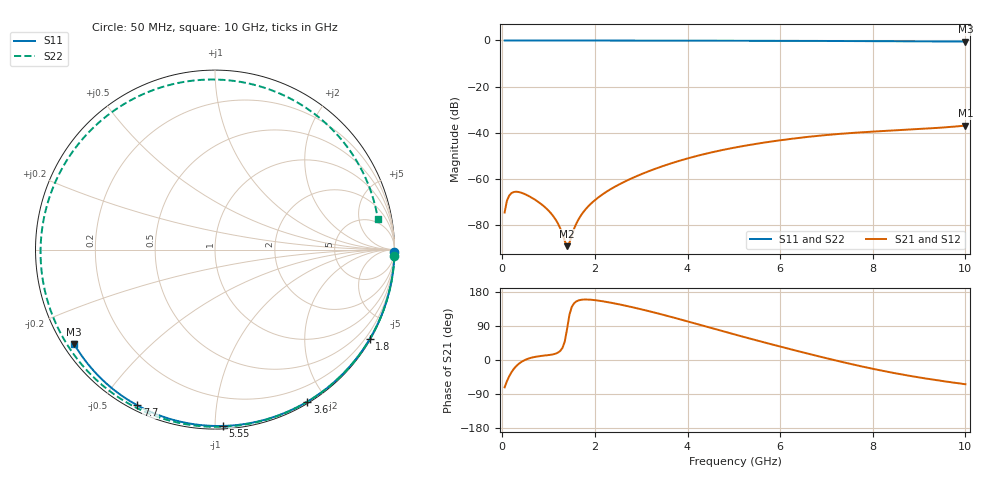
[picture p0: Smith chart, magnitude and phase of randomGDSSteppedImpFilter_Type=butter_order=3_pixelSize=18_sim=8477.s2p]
! freq	dB(S11)	phase(S11)	dB(S12)	phase(S12)
!  dB(S21)	phase(S21)	dB(S22)	phase(S22)
!S-par simulation data
#  GHz  S  DB  R 50
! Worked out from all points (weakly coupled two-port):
!   200 points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, 50 MHz to 10 GHz, reference 50 ohm
!   highest |S21| = -36.92 dB at 10 GHz (marker M1); lowest = -89.2 dB at 1.4 GHz (marker M2)
!   lowest |S11| = -0.5 dB at 10 GHz (marker M3), VSWR 35.14, Z = 1.55 - j15.2 ohm
!   |S11| at or under -10 dB: nowhere
!   |S22| runs from -0.7 to 0.0 dB; largest |S21 - S12| = 0
!   S11 on the Smith chart (normalised r, x): 50 MHz: open; 1.8 GHz: 0.03, -3.72; 3.6 GHz: 0.02, -1.78; 5.55 GHz: 0.02, -1.05; 7.7 GHz: 0.02, -0.62; 10 GHz: 0.03, -0.30
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0.05  -0.00 -0.9  -74.61 -72.1  -74.61 -72.1  -0.00 -2.0
0.1  -0.00 -1.7  -69.50 -56.0  -69.50 -56.0  -0.00 -3.9
0.15  -0.00 -2.6  -67.25 -42.6  -67.25 -42.6  -0.00 -5.9
0.35  -0.01 -6.0  -65.71 -10.6  -65.71 -10.6  -0.01 -13.7
0.85  -0.02 -14.4  -71.12 10.8  -71.12 10.8  -0.04 -33.0
1.2  -0.03 -20.2  -79.32 19.3  -79.32 19.3  -0.06 -46.2
1.4  -0.03 -23.5  -89.21 82.7  -89.21 82.7  -0.07 -53.6
1.6  -0.03 -26.8  -79.36 154.7  -79.36 154.7  -0.07 -60.8
1.75  -0.04 -29.3  -74.43 159.4  -74.43 159.4  -0.08 -66.2
1.8  -0.04 -30.1  -73.19 159.6  -73.19 159.6  -0.08 -67.9
2.4  -0.05 -39.8  -63.79 149.9  -63.79 149.9  -0.11 -88.6
3.4  -0.07 -55.6  -54.95 121.6  -54.95 121.6  -0.14 -120.7
3.6  -0.08 -58.7  -53.59 115.2  -53.59 115.2  -0.15 -126.8
4.35  -0.10 -70.0  -49.33 90.0  -49.33 90.0  -0.19 -149.3
5.05  -0.12 -80.3  -46.34 66.3  -46.34 66.3  -0.23 -169.9
5.55  -0.14 -87.4  -44.62 49.9  -44.62 49.9  -0.26 175.1
6.15  -0.17 -95.7  -42.89 30.7  -42.89 30.7  -0.30 156.7
6.7  -0.20 -103.2  -41.60 13.7  -41.60 13.7  -0.35 139.1
7.7  -0.27 -116.5  -39.90 -15.3  -39.90 -15.3  -0.43 104.3
8.35  -0.32 -125.0  -39.14 -31.8  -39.14 -31.8  -0.49 79.4
9.1  -0.39 -134.6  -38.31 -47.9  -38.31 -47.9  -0.57 48.7
10  -0.49 -146.2  -36.92 -64.0  -36.92 -64.0  -0.69 10.5
